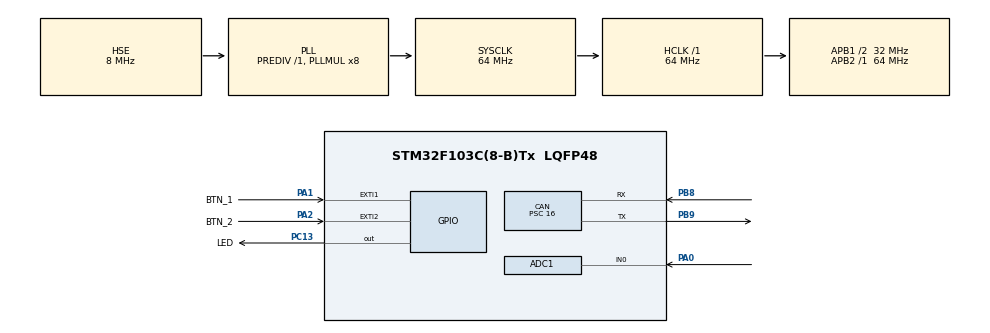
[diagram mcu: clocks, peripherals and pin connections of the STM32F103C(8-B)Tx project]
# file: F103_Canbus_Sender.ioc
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ADC1.Channel-8\#ChannelRegularConversion=ADC_CHANNEL_0
ADC1.ContinuousConvMode=ENABLE
ADC1.DiscontinuousConvMode=DISABLE
ADC1.NbrOfConversion=1
ADC1.NbrOfConversionFlag=1
ADC1.Rank-8\#ChannelRegularConversion=1
ADC1.SamplingTime-8\#ChannelRegularConversion=ADC_SAMPLETIME_1CYCLE_5
ADC1.master=1
CAN.BS1=CAN_BS1_2TQ
CAN.CalculateBaudRate=500000
CAN.CalculateTimeBit=2000
CAN.CalculateTimeQuantum=500.0
CAN.Prescaler=16
Dma.ADC1.0.Direction=DMA_PERIPH_TO_MEMORY
Dma.ADC1.0.Instance=DMA1_Channel1
Dma.ADC1.0.MemDataAlignment=DMA_MDATAALIGN_WORD
Dma.ADC1.0.MemInc=DMA_MINC_ENABLE
Dma.ADC1.0.Mode=DMA_CIRCULAR
Dma.ADC1.0.PeriphDataAlignment=DMA_PDATAALIGN_WORD
Dma.ADC1.0.PeriphInc=DMA_PINC_DISABLE
Dma.ADC1.0.Priority=DMA_PRIORITY_LOW
Dma.Request0=ADC1
Mcu.Family=STM32F1
Mcu.Name=STM32F103C(8-B)Tx
Mcu.Package=LQFP48
NVIC.CAN1_RX1_IRQn=true\:0\:0\:false\:false\:true\:true\:true\:true
NVIC.DMA1_Channel1_IRQn=true\:0\:0\:false\:false\:true\:false\:true\:true
NVIC.EXTI1_IRQn=true\:0\:0\:false\:false\:true\:true\:true\:true
NVIC.EXTI2_IRQn=true\:0\:0\:false\:false\:true\:true\:true\:true
NVIC.PriorityGroup=NVIC_PRIORITYGROUP_4
NVIC.USB_HP_CAN1_TX_IRQn=true\:0\:0\:false\:false\:true\:true\:true\:true
NVIC.USB_LP_CAN1_RX0_IRQn=true\:0\:0\:false\:false\:true\:false\:true\:true
PA0-WKUP.Signal=ADCx_IN0
PA1.GPIO_Label=BTN_1
PA1.GPIO_ModeDefaultEXTI=GPIO_MODE_IT_RISING
PA1.GPIO_PuPd=GPIO_PULLDOWN
PA1.Signal=GPXTI1
PA13.Mode=Serial_Wire
PA13.Signal=SYS_JTMS-SWDIO
PA14.Mode=Serial_Wire
PA14.Signal=SYS_JTCK-SWCLK
PA2.GPIO_Label=BTN_2
PA2.GPIO_ModeDefaultEXTI=GPIO_MODE_IT_RISING
PA2.GPIO_PuPd=GPIO_PULLDOWN
PA2.Signal=GPXTI2
PB8.Mode=CAN_Activate
PB8.Signal=CAN_RX
PB9.Mode=CAN_Activate
PB9.Signal=CAN_TX
PC13-TAMPER-RTC.GPIO_Label=LED
PC13-TAMPER-RTC.Signal=GPIO_Output
PD0-OSC_IN.Mode=HSE-External-Oscillator
PD0-OSC_IN.Signal=RCC_OSC_IN
PD1-OSC_OUT.Mode=HSE-External-Oscillator
PD1-OSC_OUT.Signal=RCC_OSC_OUT
ProjectManager.HeapSize=0x200
ProjectManager.StackSize=0x400
ProjectManager.TargetToolchain=STM32CubeIDE
RCC.ADCPresc=RCC_ADCPCLK2_DIV6
RCC.AHBFreq_Value=64000000
RCC.APB1CLKDivider=RCC_HCLK_DIV2
RCC.APB1Freq_Value=32000000
RCC.APB1TimFreq_Value=64000000
RCC.APB2Freq_Value=64000000
RCC.APB2TimFreq_Value=64000000
RCC.HCLKFreq_Value=64000000
RCC.PLLMUL=RCC_PLL_MUL8
RCC.PLLSourceVirtual=RCC_PLLSOURCE_HSE
RCC.SYSCLKFreq_VALUE=64000000
RCC.SYSCLKSource=RCC_SYSCLKSOURCE_PLLCLK
RCC.USBFreq_Value=64000000
SH.ADCx_IN0.0=ADC1_IN0,IN0
board=custom

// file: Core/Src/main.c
/* USER CODE BEGIN Header */
/**
  ******************************************************************************
  * @file           : main.c
  * @brief          : Main program body
  ******************************************************************************
  * @attention
  *
  * Copyright (c) 2024 STMicroelectronics.
  * All rights reserved.
  *
  * This software is licensed under terms that can be found in the LICENSE file
  * in the root directory of this software component.
  * If no LICENSE file comes with this software, it is provided AS-IS.
  *
  ******************************************************************************
  */
/* USER CODE END Header */
#include "main.h"

/* USER CODE BEGIN Includes */
#include "string.h"

/* USER CODE END Includes */

/* USER CODE BEGIN PD */
CAN_TxHeaderTypeDef TxHeader;
CAN_RxHeaderTypeDef RxHeader;
uint8_t Received_Data[8];
uint8_t Transmitted_Data[8];
uint32_t TxMailbox;
uint8_t counter = 0;

//ADC
uint32_t Pot_VAl_1[4];
uint32_t Pot_VAl_2[1];
//BTN Press
uint8_t BTN_1_Pressed = 0;
uint8_t BTN_2_Pressed = 0;
/* USER CODE END PD */

ADC_HandleTypeDef hadc1;
DMA_HandleTypeDef hdma_adc1;

CAN_HandleTypeDef hcan;

/* USER CODE BEGIN PV */
void HAL_CAN_RxFifo0MsgPendingCallback(CAN_HandleTypeDef *hcan){
	HAL_CAN_GetRxMessage(hcan, CAN_RX_FIFO0, &RxHeader, Received_Data);
	HAL_GPIO_WritePin(LED_GPIO_Port, LED_Pin, GPIO_PIN_RESET);

}

/* USER CODE END PV */

void SystemClock_Config(void);
static void MX_GPIO_Init(void);
static void MX_DMA_Init(void);
static void MX_CAN_Init(void);
static void MX_ADC1_Init(void);

int main(void)
{

  /* MCU Configuration--------------------------------------------------------*/

  /* Reset of all peripherals, Initializes the Flash interface and the Systick. */
  HAL_Init();

  /* Configure the system clock */
  SystemClock_Config();

  /* Initialize all configured peripherals */
  MX_GPIO_Init();
  MX_DMA_Init();
  MX_CAN_Init();
  MX_ADC1_Init();
  /* USER CODE BEGIN 2 */
  HAL_CAN_Start(&hcan);
  HAL_CAN_ActivateNotification(&hcan, CAN_IT_RX_FIFO0_MSG_PENDING);
  TxHeader.DLC= 8 ;
  TxHeader.IDE= CAN_ID_STD ;
  TxHeader.RTR= CAN_RTR_DATA;
  TxHeader.StdId= 0x01 ;
  HAL_Delay(1000);

  /* USER CODE END 2 */

  /* Infinite loop */
  /* USER CODE BEGIN WHILE */
  while (1)
  {
	 HAL_GPIO_TogglePin(LED_GPIO_Port, LED_Pin);
	 Joy_read();
	 Transmitted_Data[1]= BTN_1_Pressed;//HOLD/RELEASE
	  Transmitted_Data[2]= BTN_2_Pressed; //FAN ON/OFF
	  Transmitted_Data[3]= 0;
	  Transmitted_Data[4]= 0;
	  Transmitted_Data[5]= 0;
	  Transmitted_Data[6]= 0;
	  Transmitted_Data[7]= 0;
	  HAL_CAN_AddTxMessage(&hcan, &TxHeader, Transmitted_Data, &TxMailbox);
	  HAL_Delay(200);
    /* USER CODE END WHILE */

  }
}

void SystemClock_Config(void)
{
  RCC_OscInitTypeDef RCC_OscInitStruct = {0};
  RCC_ClkInitTypeDef RCC_ClkInitStruct = {0};
  RCC_PeriphCLKInitTypeDef PeriphClkInit = {0};

  /** Initializes the RCC Oscillators according to the specified parameters
  * in the RCC_OscInitTypeDef structure.
  */
  RCC_OscInitStruct.OscillatorType = RCC_OSCILLATORTYPE_HSE;
  RCC_OscInitStruct.HSEState = RCC_HSE_ON;
  RCC_OscInitStruct.HSEPredivValue = RCC_HSE_PREDIV_DIV1;
  RCC_OscInitStruct.HSIState = RCC_HSI_ON;
  RCC_OscInitStruct.PLL.PLLState = RCC_PLL_ON;
  RCC_OscInitStruct.PLL.PLLSource = RCC_PLLSOURCE_HSE;
  RCC_OscInitStruct.PLL.PLLMUL = RCC_PLL_MUL8;
  if (HAL_RCC_OscConfig(&RCC_OscInitStruct) != HAL_OK)
  {
    Error_Handler();
  }

  /** Initializes the CPU, AHB and APB buses clocks
  */
  RCC_ClkInitStruct.ClockType = RCC_CLOCKTYPE_HCLK|RCC_CLOCKTYPE_SYSCLK
                              |RCC_CLOCKTYPE_PCLK1|RCC_CLOCKTYPE_PCLK2;
  RCC_ClkInitStruct.SYSCLKSource = RCC_SYSCLKSOURCE_PLLCLK;
  RCC_ClkInitStruct.AHBCLKDivider = RCC_SYSCLK_DIV1;
  RCC_ClkInitStruct.APB1CLKDivider = RCC_HCLK_DIV2;
  RCC_ClkInitStruct.APB2CLKDivider = RCC_HCLK_DIV1;

  if (HAL_RCC_ClockConfig(&RCC_ClkInitStruct, FLASH_LATENCY_2) != HAL_OK)
  {
    Error_Handler();
  }
  PeriphClkInit.PeriphClockSelection = RCC_PERIPHCLK_ADC;
  PeriphClkInit.AdcClockSelection = RCC_ADCPCLK2_DIV6;
  if (HAL_RCCEx_PeriphCLKConfig(&PeriphClkInit) != HAL_OK)
  {
    Error_Handler();
  }
}

static void MX_ADC1_Init(void)
{

  ADC_ChannelConfTypeDef sConfig = {0};

  /** Common config
  */
  hadc1.Instance = ADC1;
  hadc1.Init.ScanConvMode = ADC_SCAN_DISABLE;
  hadc1.Init.ContinuousConvMode = ENABLE;
  hadc1.Init.DiscontinuousConvMode = DISABLE;
  hadc1.Init.ExternalTrigConv = ADC_SOFTWARE_START;
  hadc1.Init.DataAlign = ADC_DATAALIGN_RIGHT;
  hadc1.Init.NbrOfConversion = 1;
  if (HAL_ADC_Init(&hadc1) != HAL_OK)
  {
    Error_Handler();
  }

  /** Configure Regular Channel
  */
  sConfig.Channel = ADC_CHANNEL_0;
  sConfig.Rank = ADC_REGULAR_RANK_1;
  sConfig.SamplingTime = ADC_SAMPLETIME_1CYCLE_5;
  if (HAL_ADC_ConfigChannel(&hadc1, &sConfig) != HAL_OK)
  {
    Error_Handler();
  }

}

static void MX_CAN_Init(void)
{

  hcan.Instance = CAN1;
  hcan.Init.Prescaler = 16;
  hcan.Init.Mode = CAN_MODE_NORMAL;
  hcan.Init.SyncJumpWidth = CAN_SJW_1TQ;
  hcan.Init.TimeSeg1 = CAN_BS1_2TQ;
  hcan.Init.TimeSeg2 = CAN_BS2_1TQ;
  hcan.Init.TimeTriggeredMode = DISABLE;
  hcan.Init.AutoBusOff = DISABLE;
  hcan.Init.AutoWakeUp = DISABLE;
  hcan.Init.AutoRetransmission = DISABLE;
  hcan.Init.ReceiveFifoLocked = DISABLE;
  hcan.Init.TransmitFifoPriority = DISABLE;
  if (HAL_CAN_Init(&hcan) != HAL_OK)
  {
    Error_Handler();
  }
  /* USER CODE BEGIN CAN_Init 2 */
  CAN_FilterTypeDef sFilterConfig;
    sFilterConfig.FilterActivation = CAN_FILTER_ENABLE;
  	sFilterConfig.FilterBank = 18;
  	sFilterConfig.FilterFIFOAssignment = CAN_FILTER_FIFO0;
  	sFilterConfig.FilterIdHigh = 0x370<<5;
  	sFilterConfig.FilterIdLow = 0x0000;
  	sFilterConfig.FilterMaskIdHigh = 0xFFFF<<5;
  	sFilterConfig.FilterMaskIdLow = 0xFFFF;
    sFilterConfig.FilterMode = CAN_FILTERMODE_IDMASK;
    sFilterConfig.FilterScale = CAN_FILTERSCALE_32BIT;
    sFilterConfig.SlaveStartFilterBank = 20;

    if (HAL_CAN_ConfigFilter(&hcan, &sFilterConfig) != HAL_OK)
    {
      Error_Handler();
    }
  /* USER CODE END CAN_Init 2 */

}

static void MX_DMA_Init(void)
{

  /* DMA controller clock enable */
  __HAL_RCC_DMA1_CLK_ENABLE();

  /* DMA interrupt init */
  /* DMA1_Channel1_IRQn interrupt configuration */
  HAL_NVIC_SetPriority(DMA1_Channel1_IRQn, 0, 0);
  HAL_NVIC_EnableIRQ(DMA1_Channel1_IRQn);

}

static void MX_GPIO_Init(void)
{
  GPIO_InitTypeDef GPIO_InitStruct = {0};

  /* GPIO Ports Clock Enable */
  __HAL_RCC_GPIOC_CLK_ENABLE();
  __HAL_RCC_GPIOD_CLK_ENABLE();
  __HAL_RCC_GPIOA_CLK_ENABLE();
  __HAL_RCC_GPIOB_CLK_ENABLE();

  /*Configure GPIO pin Output Level */
  HAL_GPIO_WritePin(LED_GPIO_Port, LED_Pin, GPIO_PIN_RESET);

  /*Configure GPIO pin : LED_Pin */
  GPIO_InitStruct.Pin = LED_Pin;
  GPIO_InitStruct.Mode = GPIO_MODE_OUTPUT_PP;
  GPIO_InitStruct.Pull = GPIO_NOPULL;
  GPIO_InitStruct.Speed = GPIO_SPEED_FREQ_LOW;
  HAL_GPIO_Init(LED_GPIO_Port, &GPIO_InitStruct);

  /*Configure GPIO pins : BTN_1_Pin BTN_2_Pin */
  GPIO_InitStruct.Pin = BTN_1_Pin|BTN_2_Pin;
  GPIO_InitStruct.Mode = GPIO_MODE_IT_RISING;
  GPIO_InitStruct.Pull = GPIO_PULLDOWN;
  HAL_GPIO_Init(GPIOA, &GPIO_InitStruct);

  /* EXTI interrupt init*/
  HAL_NVIC_SetPriority(EXTI1_IRQn, 0, 0);
  HAL_NVIC_EnableIRQ(EXTI1_IRQn);

  HAL_NVIC_SetPriority(EXTI2_IRQn, 0, 0);
  HAL_NVIC_EnableIRQ(EXTI2_IRQn);

}

/* USER CODE BEGIN 4 */
void Joy_read(void) {
		 HAL_ADC_Start_DMA(&hadc1, Pot_VAl_1, 4);
	  counter = counter +1;
	  if(counter>255){
		  counter = 0;
	  }
	  if(Pot_VAl_1[0]>3500){
		  Transmitted_Data[0]= Pot_VAl_1[0]/16;//Stepper Angle
	  }
	  else if(Pot_VAl_1[0]<500){
		  Transmitted_Data[0]= Pot_VAl_1[0]/16;//Stepper Angle
	  }
	  else{
		  Transmitted_Data[0]= 128;            //Stepper Angle
	  }
}

void EXTI1_IRQHandler(void)
{
  /* USER CODE BEGIN EXTI1_IRQn 0 */

			  if(BTN_1_Pressed==0){
				  BTN_1_Pressed=1;
			  }
			  else {
				  BTN_1_Pressed=0;
			  }

  /* USER CODE END EXTI1_IRQn 0 */
  HAL_GPIO_EXTI_IRQHandler(BTN_1_Pin);
  /* USER CODE BEGIN EXTI1_IRQn 1 */

  /* USER CODE END EXTI1_IRQn 1 */
}
void EXTI2_IRQHandler(void)
{
  /* USER CODE BEGIN EXTI2_IRQn 0 */
	  		  if(BTN_2_Pressed==0){
	  			  BTN_2_Pressed=1;
	  		  }
	  		  else {
	  			  BTN_2_Pressed=0;
	  		  }

  /* USER CODE END EXTI2_IRQn 0 */
  HAL_GPIO_EXTI_IRQHandler(BTN_2_Pin);
  /* USER CODE BEGIN EXTI2_IRQn 1 */

  /* USER CODE END EXTI2_IRQn 1 */
}
/* USER CODE END 4 */

void Error_Handler(void)
{
  __disable_irq();
  while (1)
  {
  }
}
